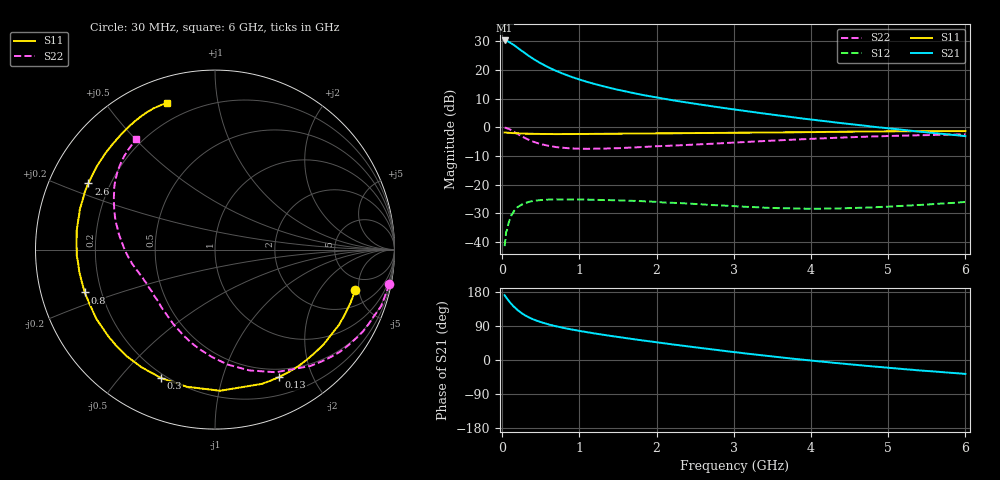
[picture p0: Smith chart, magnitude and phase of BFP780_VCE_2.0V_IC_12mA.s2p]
! Infineon Technologies  Discrete & RF Semiconductors
! BFP780
! VCE =  2.0 V,  IC =  12 mA
! Common Emitter S-Parameters:  Jul 2015
# GHz  S  MA  R  50
!  f  S11  S21  S12  S22
! GHz  MAG  ANG  MAG  ANG  MAG  ANG  MAG  ANG
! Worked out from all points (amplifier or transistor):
!   75 points, 30 MHz to 6 GHz, reference 50 ohm
!   highest |S21| = 30.3 dB at 30 MHz (marker M1)
!   |S21| within 3 dB of that: start of sweep to 221.1 MHz
!   unconditionally stable (mu >= 1): 2.598 GHz to end of sweep
!   at 150 MHz: K = 0.05, MSG = 28.9 dB, |S12| = -29.2 dB
!   at 2.3 GHz: K = 0.86, MSG = 17.7 dB, |S12| = -26.4 dB
!   at 6 GHz: K = 1.68, MAG = 6.7 dB, |S12| = -26.0 dB
!   S11 on the Smith chart (normalised r, x): 30 MHz: 3.45, -4.60; 130 MHz: 0.40, -1.55; 300 MHz: 0.18, -0.65; 800 MHz: 0.14, -0.16; 2.6 GHz: 0.12, +0.24; 6 GHz: 0.11, +0.72
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0.03  0.8141 -16.0  32.62 171.2  0.0085 80.6  0.99 -11.2
0.05  0.8089 -26.5  32.2 165.1  0.0151 68.5  0.9783 -18.8
0.07  0.8026 -36.3  31.54 159.6  0.0188 68.4  0.9519 -25.6
0.1  0.7989 -50.4  29.98 152.0  0.0256 63.5  0.9144 -35.7
0.13  0.7947 -63.2  28.32 145.0  0.031 57.0  0.8681 -45.1
0.15  0.7921 -70.9  27.08 140.8  0.0347 53.4  0.8386 -50.6
0.2  0.7869 -87.9  24.24 131.5  0.0409 45.1  0.7636 -63.5
0.25  0.7801 -101.5  21.61 123.7  0.0449 37.6  0.7 -74.1
0.3  0.7759 -112.8  19.33 117.3  0.048 32.2  0.644 -83.8
0.35  0.7729 -121.8  17.3 112.0  0.0505 27.6  0.5987 -91.6
0.4  0.7711 -129.4  15.66 107.3  0.0521 23.8  0.5628 -98.5
0.5  0.7659 -140.9  13.01 100.0  0.0541 18.1  0.5101 -110.0
0.6  0.7653 -149.5  11.06 93.9  0.055 13.6  0.4763 -119.0
0.8  0.764 -161.8  8.455 84.5  0.0553 7.2  0.439 -132.8
1.1  0.7659 -174.1  6.18 73.3  0.055 1.0  0.4219 -146.8
1.5  0.7737 174.7  4.502 60.8  0.0533 -4.6  0.4329 -158.9
2.1  0.7864 161.7  3.14 44.0  0.0489 -9.9  0.473 -171.9
2.6  0.7962 152.4  2.455 31.0  0.0454 -12.1  0.5091 178.5
3.1  0.8062 143.9  1.968 18.6  0.0416 -11.4  0.5508 168.9
4.1  0.8283 128.8  1.319 -3.5  0.0382 -3.5  0.6378 152.0
5.1  0.8537 116.7  0.932 -22.2  0.0423 4.7  0.7109 137.7
6  0.8603 108.0  0.702 -36.7  0.0501 6.8  0.7552 125.5
